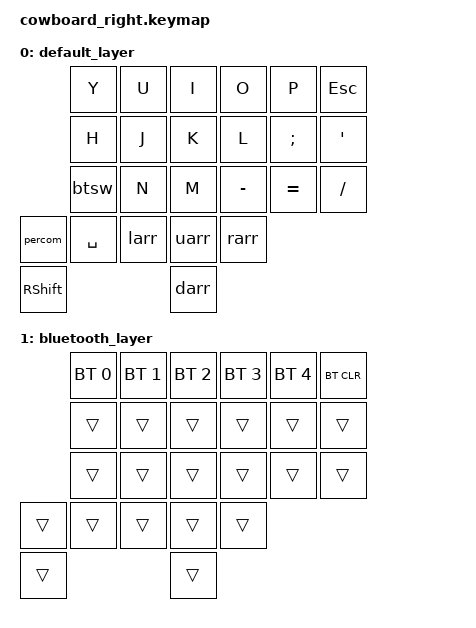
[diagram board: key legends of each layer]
#include <behaviors.dtsi>
#include <dt-bindings/zmk/keys.h>
#include <dt-bindings/zmk/bt.h>

#define DEFAULT 0
#define BLUETOOTH 1

/ {
    behaviors {
        percom: period_comma {
            compatible = "zmk,behavior-mod-morph";
            #binding-cells = <0>;
            bindings = <&kp KP_DOT>, <&kp KP_COMMA>;
            mods = <(MOD_RSFT)>;
        };
        
        larr: left_arrow {
            compatible = "zmk,behavior-mod-morph";
            #binding-cells = <0>;
            bindings = <&kp LEFT_ARROW>, <&kp C_PREVIOUS>;
            mods = <(MOD_RSFT)>;
        };

        uarr: up_arrow {
            compatible = "zmk,behavior-mod-morph";
            #binding-cells = <0>;
            bindings = <&kp UP_ARROW>, <&kp C_VOLUME_UP>;
            mods = <(MOD_RSFT)>;
        };

        rarr: right_arrow {
            compatible = "zmk,behavior-mod-morph";
            #binding-cells = <0>;
            bindings = <&kp RIGHT_ARROW>, <&kp C_NEXT>;
            mods = <(MOD_RSFT)>;
        };

        darr: down_arrow {
            compatible = "zmk,behavior-mod-morph";
            #binding-cells = <0>;
            bindings = <&kp DOWN_ARROW>, <&kp C_VOLUME_DOWN>;
            mods = <(MOD_RSFT)>;
        };

        btsw: bluetooth_switch {
            compatible = "zmk,behavior-mod-morph";
            #binding-cells = <0>;
            bindings = <&kp BACKSPACE>, <&mo BLUETOOTH>;
            mods = <(MOD_RSFT)>;
        };
    };

    keymap {
        compatible = "zmk,keymap";

        default_layer {
// -----------------------------------------------------------------------
//           |    Y    |    U    |    I    |    O    |    P    |   ESC   |  
//           |    H    |    J    |    K    |    L    |   ;/:   |   '/"   |     
// |BACKSPACE|    N    |    M    |   -/_   |   =/+   |   //?   |
// |  ./,    |  SPACE  |  ←/PREV | ↑/VOL UP|  →/NEXT |
// |  RSHIFT |  SPACE            |↓/VOL DWN|
            bindings = <
                  &kp Y     &kp U    &kp I     &kp O     &kp P         &kp ESCAPE                                    
                  &kp H     &kp J    &kp K     &kp L     &kp SEMICOLON &kp SINGLE_QUOTE                                            
    &btsw         &kp N     &kp M    &kp MINUS &kp EQUAL &kp SLASH
    &percom       &kp SPACE     &larr    &uarr     &rarr
    &kp RSHIFT                       &darr
            >;
        };

        bluetooth_layer {
            bindings = <
            &bt BT_SEL 0     &bt BT_SEL 1    &bt BT_SEL 2     &bt BT_SEL 3     &bt BT_SEL 4         &bt BT_CLR                                    
            &trans           &trans          &trans           &trans           &trans               &trans                                            
    &trans  &trans           &trans          &trans           &trans           &trans
    &trans  &trans           &trans          &trans           &trans
    &trans                                   &trans
            >;
        };
    };


};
